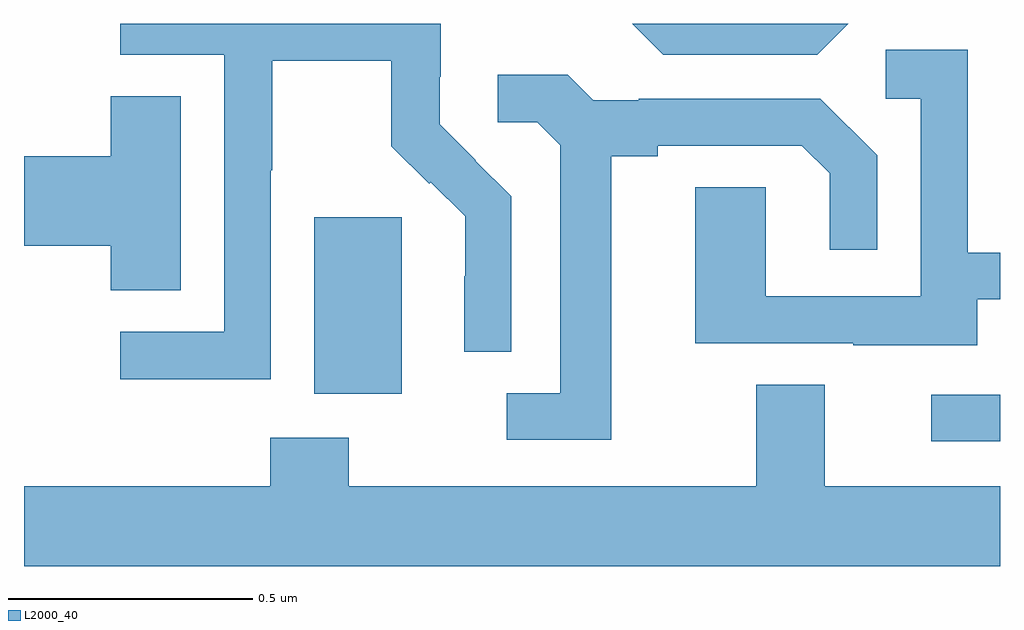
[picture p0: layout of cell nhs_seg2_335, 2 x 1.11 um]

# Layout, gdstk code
import gdstk
lib = gdstk.Library(unit=1e-6, precision=1e-09)
def R(c, l, rs):  # rectangles x0, y0, x1, y1
    for r in rs: c.add(gdstk.rectangle(r[:2], r[2:], *l))
def P(c, l, *ps):  # polygons
    for p in ps: c.add(gdstk.Polygon(p, *l))
L2000_40 = (2000, 40)

nhs_seg2_335 = lib.new_cell('nhs_seg2_335')
R(nhs_seg2_335, L2000_40, [(116.859,595.944,117,596.04), (115.595,596.042,115.774,596.403)])
P(nhs_seg2_335, L2000_40, [(115.506,596.5),(115.509,596.5),(115.509,596.724),(115.753,596.724),(115.753,596.549),(115.83,596.472),(115.833,596.475),(115.904,596.405),(115.904,596.282),(115.902,596.282),(115.902,596.128),(115.998,596.128),(115.998,596.446),(115.925,596.519),(115.926,596.52),(115.852,596.594),(115.852,596.691),(115.854,596.691),(115.854,596.8),(115.197,596.8),(115.197,596.736),(115.41,596.736),(115.41,596.169),(115.197,596.169),(115.197,596.071),(115.506,596.071)],
  [(116.689,596.8),(116.246,596.8),(116.31,596.736),(116.625,596.736)],
  [(116.953,596.235),(117,596.235),(117,596.331),(116.934,596.331),(116.934,596.747),(116.766,596.747),(116.766,596.646),(116.838,596.646),(116.838,596.241),(116.52,596.241),(116.52,596.465),(116.375,596.465),(116.375,596.145),(116.699,596.145),(116.699,596.141),(116.953,596.141)],
  [(116.203,596.528),(116.299,596.528),(116.299,596.55),(116.594,596.55),(116.651,596.493),(116.651,596.337),(116.748,596.337),(116.748,596.53),(116.632,596.646),(116.26,596.646),(116.26,596.643),(116.166,596.643),(116.114,596.695),(115.971,596.695),(115.971,596.598),(116.052,596.598),(116.099,596.551),(116.099,596.043),(115.989,596.043),(115.989,595.947),(116.203,595.947)],
  [(115.321,596.651),(115.178,596.651),(115.178,596.528),(115,596.528),(115,596.345),(115.178,596.345),(115.178,596.254),(115.321,596.254)],
  [(117,595.852),(116.641,595.852),(116.641,596.06),(116.501,596.06),(116.501,595.852),(115.665,595.852),(115.665,595.951),(115.505,595.951),(115.505,595.852),(115,595.852),(115,595.688),(117,595.688)])

lib.write_gds('nhs_seg2_335.gds')
